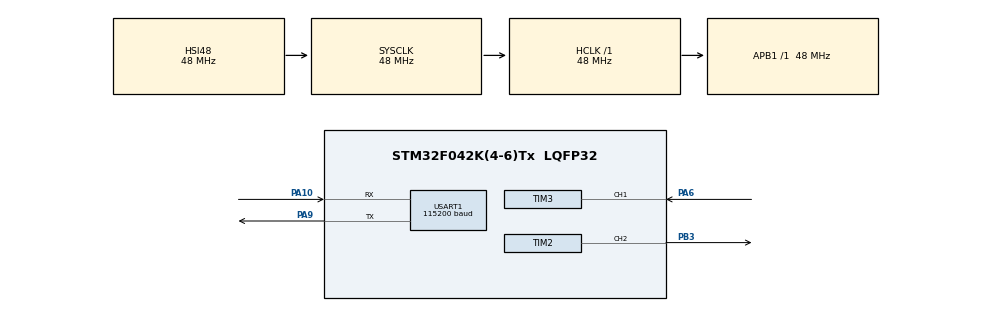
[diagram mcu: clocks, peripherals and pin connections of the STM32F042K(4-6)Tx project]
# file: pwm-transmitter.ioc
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Dma.Request0=USART1_RX
Dma.USART1_RX.0.Direction=DMA_PERIPH_TO_MEMORY
Dma.USART1_RX.0.Instance=DMA1_Channel5
Dma.USART1_RX.0.MemDataAlignment=DMA_MDATAALIGN_BYTE
Dma.USART1_RX.0.MemInc=DMA_MINC_ENABLE
Dma.USART1_RX.0.Mode=DMA_CIRCULAR
Dma.USART1_RX.0.PeriphDataAlignment=DMA_PDATAALIGN_BYTE
Dma.USART1_RX.0.PeriphInc=DMA_PINC_DISABLE
Dma.USART1_RX.0.Priority=DMA_PRIORITY_LOW
Mcu.Family=STM32F0
Mcu.Name=STM32F042K(4-6)Tx
Mcu.Package=LQFP32
NVIC.DMA1_Channel4_5_IRQn=true\:0\:0\:false\:false\:true\:false\:true
NVIC.TIM16_IRQn=true\:0\:0\:false\:false\:true\:true\:true
NVIC.TIM2_IRQn=true\:0\:0\:false\:false\:true\:true\:true
NVIC.TIM3_IRQn=true\:0\:0\:false\:false\:true\:true\:true
NVIC.USART1_IRQn=true\:0\:0\:false\:false\:true\:true\:true
PA10.Mode=Asynchronous
PA10.Signal=USART1_RX
PA13.Mode=Serial_Wire
PA13.Signal=SYS_SWDIO
PA14.Mode=Serial_Wire
PA14.Signal=SYS_SWCLK
PA6.GPIO_PuPd=GPIO_NOPULL
PA6.Signal=S_TIM3_CH1
PA9.Mode=Asynchronous
PA9.Signal=USART1_TX
PB3.GPIO_PuPd=GPIO_NOPULL
PB3.Signal=S_TIM2_CH2
ProjectManager.HeapSize=0x200
ProjectManager.StackSize=0x400
ProjectManager.TargetToolchain=STM32CubeIDE
RCC.AHBFreq_Value=48000000
RCC.APB1Freq_Value=48000000
RCC.APB1TimFreq_Value=48000000
RCC.HCLKFreq_Value=48000000
RCC.SYSCLKFreq_VALUE=48000000
RCC.SYSCLKSource=RCC_SYSCLKSOURCE_HSI48
SH.S_TIM2_CH2.0=TIM2_CH2,PWM Generation2 CH2
SH.S_TIM3_CH1.0=TIM3_CH1,Input_Capture1_from_TI1
TIM16.AutoReloadPreload=TIM_AUTORELOAD_PRELOAD_ENABLE
TIM16.Period=10000 - 1
TIM16.Prescaler=48000 - 1
TIM16.RepetitionCounter=0
TIM2.Channel-PWM\ Generation2\ CH2=TIM_CHANNEL_2
TIM2.OCMode_PWM-PWM\ Generation2\ CH2=TIM_OCMODE_PWM2
TIM2.Period=10000-1
TIM2.Prescaler=480 - 1
TIM3.Channel-Input_Capture1_from_TI1=TIM_CHANNEL_1
TIM3.Channel-Input_Capture2_from_TI1_63=TIM_CHANNEL_2
TIM3.ICPolarity_CH2=TIM_INPUTCHANNELPOLARITY_FALLING
TIM3.Period=10000-1
TIM3.Prescaler=480 - 1
USART1.BaudRate=115200
USART1.DMADisableonRxErrorParam=ADVFEATURE_DMA_DISABLEONRXERROR
USART1.OverrunDisableParam=ADVFEATURE_OVERRUN_DISABLE
USART1.VirtualMode-Asynchronous=VM_ASYNC
VP_TIM16_VS_ClockSourceINT.Mode=Enable_Timer
VP_TIM2_VS_ClockSourceINT.Mode=Internal
VP_TIM3_VS_ClockSourceINT.Mode=Internal
VP_TIM3_VS_indirect_ch1.Mode=Input_Capture2_from_TI1_63
board=custom

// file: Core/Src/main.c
/* USER CODE BEGIN Header */
/**
 ******************************************************************************
 * @file           : main.c
 * @brief          : Main program body
 ******************************************************************************
 * @attention
 *
 * Copyright (c) 2022 STMicroelectronics.
 * All rights reserved.
 *
 * This software is licensed under terms that can be found in the LICENSE file
 * in the root directory of this software component.
 * If no LICENSE file comes with this software, it is provided AS-IS.
 *
 ******************************************************************************
 */
/* USER CODE END Header */
#include "main.h"

/* USER CODE BEGIN Includes */

#include "transmitter.h"
#include "reciever.h"
#include "ringbuf.h"

#include <stddef.h>
#include <stdio.h>
#include <stdint.h>
#include <string.h>
#include <math.h>

/* USER CODE END Includes */

/* USER CODE BEGIN PTD */

typedef struct {
	uint8_t Rx;
	uint8_t hello;
	uint8_t char_received;
	uint8_t IC;
	uint8_t is_reliable;
} Flags_TypeDef;

/* USER CODE END PTD */

TIM_HandleTypeDef htim2;
TIM_HandleTypeDef htim3;
TIM_HandleTypeDef htim16;

UART_HandleTypeDef huart1;
DMA_HandleTypeDef hdma_usart1_rx;

/* USER CODE BEGIN PV */

Flags_TypeDef flag = { .Rx = 0, .hello = 0, .char_received = 0, .IC = 0,
		.is_reliable = 0 };

/* USER CODE END PV */

void SystemClock_Config(void);
static void MX_GPIO_Init(void);
static void MX_TIM3_Init(void);
static void MX_TIM16_Init(void);
static void MX_DMA_Init(void);
static void MX_USART1_UART_Init(void);
static void MX_TIM2_Init(void);

/* USER CODE BEGIN 0 */

inline void TIM2_CH2_StartPWM_IT(void) {
	HAL_TIM_PWM_Start_IT(&htim2, TIM_CHANNEL_2);
}

inline void TIM2_CH2_StopPWM_IT(void) {
	HAL_TIM_PWM_Stop_IT(&htim2, TIM_CHANNEL_2);
}

inline void TIM2_CH2_SetCompare(uint32_t CCR) {
	__HAL_TIM_SET_COMPARE(&htim2, TIM_CHANNEL_2, CCR);
}

void TIM3_Start_IT(void) {
	HAL_TIM_Base_Start_IT(&htim3);
	HAL_TIM_IC_Start_IT(&htim3, TIM_CHANNEL_1);
	HAL_TIM_IC_Start_IT(&htim3, TIM_CHANNEL_2);
}

void TIM3_Stop_IT(void) {
	HAL_TIM_Base_Stop_IT(&htim3);
	HAL_TIM_IC_Stop_IT(&htim3, TIM_CHANNEL_1);
	HAL_TIM_IC_Stop_IT(&htim3, TIM_CHANNEL_2);
}

inline uint32_t TIM3_CH1_ReadCapValue(void) {
	return HAL_TIM_ReadCapturedValue(&htim3, TIM_CHANNEL_1);
}

inline uint32_t TIM3_CH2_ReadCapValue(void) {
	return HAL_TIM_ReadCapturedValue(&htim3, TIM_CHANNEL_2);
}

void HAL_TIM_PWM_PulseFinishedCallback(TIM_HandleTypeDef *htim) {
	if (htim->Instance == TIM2) {
		HAL_TIM_PWM_Stop(&htim2, TIM_CHANNEL_2);
		sending_flag = 0;
	}
}

void HAL_UARTEx_RxEventCallback(UART_HandleTypeDef *huart, uint16_t Size) {
	UNUSED(Size);

	if (!flag.is_reliable) {
		return;
	}

	if (huart == &huart1) {
		flag.Rx = 1;
	}
}

void HAL_TIM_PeriodElapsedCallback(TIM_HandleTypeDef *htim) {
	if (htim->Instance == TIM3) {
		flag.char_received = 1;
	} else if (htim->Instance == TIM16) {
		if (flag.is_reliable) {
			return;
		}
		flag.hello = 1;
	}
}

void HAL_TIM_IC_CaptureCallback(TIM_HandleTypeDef *htim) {
	if (htim == &htim3) {
		flag.IC = 1;
	}
}

void preparedForReceive(void) {
	sendACK();

	flag.is_reliable = 1;

	const uint8_t msg[] =
			"======================================================================\r\n"
					"Congratulations! You've successfully connected to the receiver device!\r\n"
					"Usage: just type any symbol or copypaste text in the console menu\r\n"
					"======================================================================\r\n\n";
	HAL_UART_Transmit(&huart1, msg, (uint16_t) strlen(msg), -1);

	TIM3_Stop_IT();
}

static void RxCheck(void) {
	size_t pos = ringBuf_Size() - LL_DMA_GetDataLength(DMA1, LL_DMA_CHANNEL_5);

	if (pos == rb->pos) {
		return;
	}
	if (pos > rb->pos) {
		sendString(ringBuf_Pos(), pos - rb->pos);
	} else {
		sendString(ringBuf_Pos(), ringBuf_Size() - rb->pos);
		if (pos > 0) {
			sendString(ringBuf_Begin(), pos);
		}
	}
	rb->pos = pos;
}

/* USER CODE END 0 */

int main(void) {

	/* MCU Configuration--------------------------------------------------------*/

	/* Reset of all peripherals, Initializes the Flash interface and the Systick. */
	HAL_Init();

	/* USER CODE BEGIN Init */

	ringBuf_Init();

	/* USER CODE END Init */

	/* Configure the system clock */
	SystemClock_Config();

	/* Initialize all configured peripherals */
	MX_GPIO_Init();
	MX_TIM3_Init();
	MX_TIM16_Init();
	MX_DMA_Init();
	MX_USART1_UART_Init();
	MX_TIM2_Init();
	/* USER CODE BEGIN 2 */

	if (HAL_TIM_Base_Start_IT(&htim3) != HAL_OK) {
		Error_Handler();
	}

	if (HAL_TIM_IC_Start_IT(&htim3, TIM_CHANNEL_1) != HAL_OK) {
		Error_Handler();
	}

	if (HAL_TIM_IC_Start_IT(&htim3, TIM_CHANNEL_2) != HAL_OK) {
		Error_Handler();
	}

	if (HAL_TIM_Base_Start_IT(&htim16) != HAL_OK) {
		Error_Handler();
	}

	if (HAL_UARTEx_ReceiveToIdle_DMA(&huart1, rb->buff, ringBuf_Size())
			!= HAL_OK) {
		Error_Handler();
	}
	__HAL_DMA_DISABLE_IT(&hdma_usart1_rx, DMA_IT_HT);

	/* USER CODE END 2 */

	/* Infinite loop */
	/* USER CODE BEGIN WHILE */
	while (1) {
		if (flag.hello) {
			sendSYN();
			flag.hello = 0;
		} else if (flag.Rx) {
			RxCheck();
			flag.Rx = 0;
		} else if (flag.char_received) {
			lastBitCheck();
			flag.char_received = 0;
		} else if (flag.IC) {
			ICCheck();
			flag.IC = 0;
		}

		/* USER CODE END WHILE */

	}
}

void SystemClock_Config(void) {
	RCC_OscInitTypeDef RCC_OscInitStruct = { 0 };
	RCC_ClkInitTypeDef RCC_ClkInitStruct = { 0 };
	RCC_PeriphCLKInitTypeDef PeriphClkInit = { 0 };

	/** Initializes the RCC Oscillators according to the specified parameters
	 * in the RCC_OscInitTypeDef structure.
	 */
	RCC_OscInitStruct.OscillatorType = RCC_OSCILLATORTYPE_HSI48;
	RCC_OscInitStruct.HSI48State = RCC_HSI48_ON;
	RCC_OscInitStruct.PLL.PLLState = RCC_PLL_NONE;
	if (HAL_RCC_OscConfig(&RCC_OscInitStruct) != HAL_OK) {
		Error_Handler();
	}
	/** Initializes the CPU, AHB and APB buses clocks
	 */
	RCC_ClkInitStruct.ClockType = RCC_CLOCKTYPE_HCLK | RCC_CLOCKTYPE_SYSCLK
			| RCC_CLOCKTYPE_PCLK1;
	RCC_ClkInitStruct.SYSCLKSource = RCC_SYSCLKSOURCE_HSI48;
	RCC_ClkInitStruct.AHBCLKDivider = RCC_SYSCLK_DIV1;
	RCC_ClkInitStruct.APB1CLKDivider = RCC_HCLK_DIV1;

	if (HAL_RCC_ClockConfig(&RCC_ClkInitStruct, FLASH_LATENCY_1) != HAL_OK) {
		Error_Handler();
	}
	PeriphClkInit.PeriphClockSelection = RCC_PERIPHCLK_USART1;
	PeriphClkInit.Usart1ClockSelection = RCC_USART1CLKSOURCE_PCLK1;
	if (HAL_RCCEx_PeriphCLKConfig(&PeriphClkInit) != HAL_OK) {
		Error_Handler();
	}
}

static void MX_TIM2_Init(void) {

	TIM_ClockConfigTypeDef sClockSourceConfig = { 0 };
	TIM_MasterConfigTypeDef sMasterConfig = { 0 };
	TIM_OC_InitTypeDef sConfigOC = { 0 };

	htim2.Instance = TIM2;
	htim2.Init.Prescaler = 480 - 1;
	htim2.Init.CounterMode = TIM_COUNTERMODE_UP;
	htim2.Init.Period = 10000 - 1;
	htim2.Init.ClockDivision = TIM_CLOCKDIVISION_DIV1;
	htim2.Init.AutoReloadPreload = TIM_AUTORELOAD_PRELOAD_DISABLE;
	if (HAL_TIM_Base_Init(&htim2) != HAL_OK) {
		Error_Handler();
	}
	sClockSourceConfig.ClockSource = TIM_CLOCKSOURCE_INTERNAL;
	if (HAL_TIM_ConfigClockSource(&htim2, &sClockSourceConfig) != HAL_OK) {
		Error_Handler();
	}
	if (HAL_TIM_PWM_Init(&htim2) != HAL_OK) {
		Error_Handler();
	}
	sMasterConfig.MasterOutputTrigger = TIM_TRGO_RESET;
	sMasterConfig.MasterSlaveMode = TIM_MASTERSLAVEMODE_DISABLE;
	if (HAL_TIMEx_MasterConfigSynchronization(&htim2, &sMasterConfig)
			!= HAL_OK) {
		Error_Handler();
	}
	sConfigOC.OCMode = TIM_OCMODE_PWM2;
	sConfigOC.Pulse = 0;
	sConfigOC.OCPolarity = TIM_OCPOLARITY_HIGH;
	sConfigOC.OCFastMode = TIM_OCFAST_DISABLE;
	if (HAL_TIM_PWM_ConfigChannel(&htim2, &sConfigOC, TIM_CHANNEL_2)
			!= HAL_OK) {
		Error_Handler();
	}
	HAL_TIM_MspPostInit(&htim2);

}

static void MX_TIM3_Init(void) {

	TIM_ClockConfigTypeDef sClockSourceConfig = { 0 };
	TIM_MasterConfigTypeDef sMasterConfig = { 0 };
	TIM_IC_InitTypeDef sConfigIC = { 0 };

	htim3.Instance = TIM3;
	htim3.Init.Prescaler = 480 - 1;
	htim3.Init.CounterMode = TIM_COUNTERMODE_UP;
	htim3.Init.Period = 10000 - 1;
	htim3.Init.ClockDivision = TIM_CLOCKDIVISION_DIV1;
	htim3.Init.AutoReloadPreload = TIM_AUTORELOAD_PRELOAD_DISABLE;
	if (HAL_TIM_Base_Init(&htim3) != HAL_OK) {
		Error_Handler();
	}
	sClockSourceConfig.ClockSource = TIM_CLOCKSOURCE_INTERNAL;
	if (HAL_TIM_ConfigClockSource(&htim3, &sClockSourceConfig) != HAL_OK) {
		Error_Handler();
	}
	if (HAL_TIM_IC_Init(&htim3) != HAL_OK) {
		Error_Handler();
	}
	sMasterConfig.MasterOutputTrigger = TIM_TRGO_RESET;
	sMasterConfig.MasterSlaveMode = TIM_MASTERSLAVEMODE_DISABLE;
	if (HAL_TIMEx_MasterConfigSynchronization(&htim3, &sMasterConfig)
			!= HAL_OK) {
		Error_Handler();
	}
	sConfigIC.ICPolarity = TIM_INPUTCHANNELPOLARITY_RISING;
	sConfigIC.ICSelection = TIM_ICSELECTION_DIRECTTI;
	sConfigIC.ICPrescaler = TIM_ICPSC_DIV1;
	sConfigIC.ICFilter = 0;
	if (HAL_TIM_IC_ConfigChannel(&htim3, &sConfigIC, TIM_CHANNEL_1) != HAL_OK) {
		Error_Handler();
	}
	sConfigIC.ICPolarity = TIM_INPUTCHANNELPOLARITY_FALLING;
	sConfigIC.ICSelection = TIM_ICSELECTION_INDIRECTTI;
	if (HAL_TIM_IC_ConfigChannel(&htim3, &sConfigIC, TIM_CHANNEL_2) != HAL_OK) {
		Error_Handler();
	}

}

static void MX_TIM16_Init(void) {

	htim16.Instance = TIM16;
	htim16.Init.Prescaler = 48000 - 1;
	htim16.Init.CounterMode = TIM_COUNTERMODE_UP;
	htim16.Init.Period = 10000 - 1;
	htim16.Init.ClockDivision = TIM_CLOCKDIVISION_DIV1;
	htim16.Init.RepetitionCounter = 0;
	htim16.Init.AutoReloadPreload = TIM_AUTORELOAD_PRELOAD_ENABLE;
	if (HAL_TIM_Base_Init(&htim16) != HAL_OK) {
		Error_Handler();
	}

}

static void MX_USART1_UART_Init(void) {

	huart1.Instance = USART1;
	huart1.Init.BaudRate = 115200;
	huart1.Init.WordLength = UART_WORDLENGTH_8B;
	huart1.Init.StopBits = UART_STOPBITS_1;
	huart1.Init.Parity = UART_PARITY_NONE;
	huart1.Init.Mode = UART_MODE_TX_RX;
	huart1.Init.HwFlowCtl = UART_HWCONTROL_NONE;
	huart1.Init.OverSampling = UART_OVERSAMPLING_16;
	huart1.Init.OneBitSampling = UART_ONE_BIT_SAMPLE_DISABLE;
	huart1.AdvancedInit.AdvFeatureInit = UART_ADVFEATURE_RXOVERRUNDISABLE_INIT
			| UART_ADVFEATURE_DMADISABLEONERROR_INIT;
	huart1.AdvancedInit.OverrunDisable = UART_ADVFEATURE_OVERRUN_DISABLE;
	huart1.AdvancedInit.DMADisableonRxError =
	UART_ADVFEATURE_DMA_DISABLEONRXERROR;
	if (HAL_UART_Init(&huart1) != HAL_OK) {
		Error_Handler();
	}

}

static void MX_DMA_Init(void) {

	/* DMA controller clock enable */
	__HAL_RCC_DMA1_CLK_ENABLE();

	/* DMA interrupt init */
	/* DMA1_Channel4_5_IRQn interrupt configuration */
	HAL_NVIC_SetPriority(DMA1_Channel4_5_IRQn, 0, 0);
	HAL_NVIC_EnableIRQ(DMA1_Channel4_5_IRQn);

}

static void MX_GPIO_Init(void) {

	/* GPIO Ports Clock Enable */
	__HAL_RCC_GPIOA_CLK_ENABLE();
	__HAL_RCC_GPIOB_CLK_ENABLE();

}

void Error_Handler(void) {
	__disable_irq();
	while (1) {
	}
}
